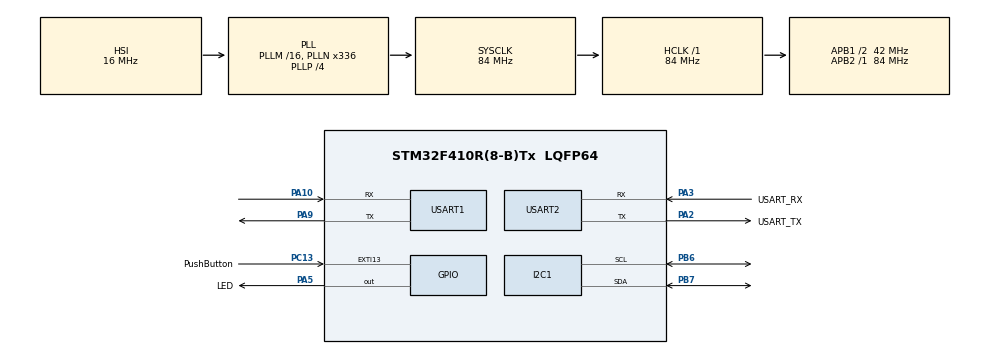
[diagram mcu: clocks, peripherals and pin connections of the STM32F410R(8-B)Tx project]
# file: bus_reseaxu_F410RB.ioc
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Dma.Request0=USART1_RX
Dma.USART1_RX.0.Direction=DMA_PERIPH_TO_MEMORY
Dma.USART1_RX.0.FIFOMode=DMA_FIFOMODE_DISABLE
Dma.USART1_RX.0.Instance=DMA2_Stream2
Dma.USART1_RX.0.MemDataAlignment=DMA_MDATAALIGN_BYTE
Dma.USART1_RX.0.MemInc=DMA_MINC_ENABLE
Dma.USART1_RX.0.Mode=DMA_NORMAL
Dma.USART1_RX.0.PeriphDataAlignment=DMA_PDATAALIGN_BYTE
Dma.USART1_RX.0.PeriphInc=DMA_PINC_DISABLE
Dma.USART1_RX.0.Priority=DMA_PRIORITY_HIGH
Mcu.Family=STM32F4
Mcu.Name=STM32F410R(8-B)Tx
Mcu.Package=LQFP64
NVIC.DMA2_Stream2_IRQn=true\:0\:0\:false\:false\:true\:false\:true\:true
NVIC.EXTI15_10_IRQn=true\:0\:0\:false\:false\:true\:true\:true\:true
NVIC.PriorityGroup=NVIC_PRIORITYGROUP_0
NVIC.USART1_IRQn=true\:0\:0\:false\:false\:true\:true\:true\:true
PA10.Mode=Asynchronous
PA10.Signal=USART1_RX
PA13.GPIO_Label=TMS
PA13.Mode=Serial_Wire
PA13.Signal=SYS_JTMS-SWDIO
PA14.GPIO_Label=TCK
PA14.Mode=Serial_Wire
PA14.Signal=SYS_JTCK-SWCLK
PA2.GPIO_Label=USART_TX
PA2.GPIO_Mode=GPIO_MODE_AF_PP
PA2.GPIO_PuPd=GPIO_NOPULL
PA2.GPIO_Speed=GPIO_SPEED_FREQ_VERY_HIGH
PA2.Mode=Asynchronous
PA2.Signal=USART2_TX
PA3.GPIO_Label=USART_RX
PA3.GPIO_Mode=GPIO_MODE_AF_PP
PA3.GPIO_PuPd=GPIO_NOPULL
PA3.GPIO_Speed=GPIO_SPEED_FREQ_VERY_HIGH
PA3.Mode=Asynchronous
PA3.Signal=USART2_RX
PA5.GPIO_Label=LED
PA5.GPIO_ModeDefaultOutputPP=GPIO_MODE_OUTPUT_PP
PA5.GPIO_PuPd=GPIO_NOPULL
PA5.GPIO_Speed=GPIO_SPEED_FREQ_LOW
PA5.Signal=GPIO_Output
PA9.Mode=Asynchronous
PA9.Signal=USART1_TX
PB6.Mode=I2C
PB6.Signal=I2C1_SCL
PB7.Mode=I2C
PB7.Signal=I2C1_SDA
PC13-ANTI_TAMP.GPIO_Label=PushButton
PC13-ANTI_TAMP.GPIO_ModeDefaultEXTI=GPIO_MODE_IT_RISING
PC13-ANTI_TAMP.GPIO_PuPd=GPIO_NOPULL
PC13-ANTI_TAMP.Signal=GPXTI13
PC14-OSC32_IN.Mode=LSE-External-Oscillator
PC14-OSC32_IN.Signal=RCC_OSC32_IN
PC15-OSC32_OUT.Mode=LSE-External-Oscillator
PC15-OSC32_OUT.Signal=RCC_OSC32_OUT
PH0\ -\ OSC_IN.Mode=HSE-External-Oscillator
PH0\ -\ OSC_IN.Signal=RCC_OSC_IN
PH1\ -\ OSC_OUT.Mode=HSE-External-Oscillator
PH1\ -\ OSC_OUT.Signal=RCC_OSC_OUT
ProjectManager.HeapSize=0x200
ProjectManager.StackSize=0x400
ProjectManager.TargetToolchain=STM32CubeIDE
RCC.48MHZClocksFreq_Value=84000000
RCC.AHBFreq_Value=84000000
RCC.APB1CLKDivider=RCC_HCLK_DIV2
RCC.APB1Freq_Value=42000000
RCC.APB1TimFreq_Value=84000000
RCC.APB2Freq_Value=84000000
RCC.APB2TimFreq_Value=84000000
RCC.CortexFreq_Value=84000000
RCC.FLatency-AdvancedSettings=FLASH_LATENCY_2
RCC.HCLKFreq_Value=84000000
RCC.HSE_VALUE=8000000
RCC.HSI_VALUE=16000000
RCC.PLLN=336
RCC.PLLP=RCC_PLLP_DIV4
RCC.SYSCLKFreq_VALUE=84000000
RCC.SYSCLKSource=RCC_SYSCLKSOURCE_PLLCLK
RCC.VCOOutputFreq_Value=336000000
USART1.VirtualMode=VM_ASYNC
USART2.VirtualMode=VM_ASYNC
VP_TIM1_VS_ClockSourceINT.Mode=Internal
board=NUCLEO-F410RB

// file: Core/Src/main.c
/* USER CODE BEGIN Header */
/**
 ******************************************************************************
 * @file           : main.c
 * @brief          : Main program body
 ******************************************************************************
 * @attention
 *
 * Copyright (c) 2022 STMicroelectronics.
 * All rights reserved.
 *
 * This software is licensed under terms that can be found in the LICENSE file
 * in the root directory of this software component.
 * If no LICENSE file comes with this software, it is provided AS-IS.
 *
 ******************************************************************************
 */
/* USER CODE END Header */
#include "main.h"

/* USER CODE BEGIN Includes */
#include "stdio.h"
#include "stdlib.h"
#include "string.h"
#include "stdio_ext.h"

#include "BMP280.h"	//Importe librarie pour contrôler le capteur
/* USER CODE END Includes */

/* USER CODE BEGIN PD */
#define SIZE_REQUETE 10
/* USER CODE END PD */

I2C_HandleTypeDef hi2c1;

TIM_HandleTypeDef htim1;

UART_HandleTypeDef huart1;
UART_HandleTypeDef huart2;
DMA_HandleTypeDef hdma_usart1_rx;

/* USER CODE BEGIN PV */
uint8_t data[6];
uint8_t REG_ID = 0xD0;

//Variables pour calibration
uint16_t dig_T1;
int16_t dig_T2;
int16_t dig_T3;
uint16_t dig_P1;
int16_t dig_P2;
int16_t dig_P3;
int16_t dig_P4;
int16_t dig_P5;
int16_t dig_P6;
int16_t dig_P7;
int16_t dig_P8;
int16_t dig_P9;

//variables reception raspberry
uint8_t Rx_rasp_to_nucleo = 1;
char requete[SIZE_REQUETE] = {'\0'};
int flag = 0;
//Variables reception Rx UART1
uint8_t Rx_byte;
char Rx_data[SIZE_REQUETE] = {'\0'};
uint8_t Rx_indx = 0;
/* USER CODE END PV */

void SystemClock_Config(void);
static void MX_GPIO_Init(void);
static void MX_DMA_Init(void);
static void MX_I2C1_Init(void);
static void MX_USART2_UART_Init(void);
static void MX_USART1_UART_Init(void);
static void MX_TIM1_Init(void);
/* USER CODE BEGIN PFP */
void configBMP280(void);
void id_BMP280();
void etalonnageBMP280();

void read_temp(void);
void read_press();
/* USER CODE END PFP */

/* USER CODE BEGIN 0 */
void configBMP280(void){
	uint8_t pData[2];
	pData[0] = 0xF4; // @ du ctrl_meas
	pData[1] = 0x57; //config mode normal, oversampling pressure x16 et temp x2
	HAL_I2C_Master_Transmit(&hi2c1, addr_BMP280, pData, 2, HAL_MAX_DELAY);
	HAL_I2C_Master_Receive(&hi2c1, addr_BMP280, &data[0], 6, HAL_MAX_DELAY);
	printf("la configuration est faite et la nouvelle valeur du registre est : %x\r\n", data[0]);

}

void id_BMP280(){
	HAL_I2C_Master_Transmit(&hi2c1, addr_BMP280, &REG_ID, 1, HAL_MAX_DELAY);
	HAL_I2C_Master_Receive(&hi2c1, addr_BMP280, &data[0], 6, HAL_MAX_DELAY);
	if(data[0]==0x58){
		printf("Le composant est le BMP280 et son id est : %x\r\n", data[0]);
	}
	else{
		printf("Le composant n'est pas reconnu");
	}
}

void etalonnageBMP280(){
	// Lecture des «trimming parameters»
	uint8_t calibration[26]; //tableau des variables
	uint8_t REG_trimming_parameter = 0x88; //premier address
	//int i = 0;  //variable d'itération
	//	for (i = 0; i < sizeof(REG_trimming_parameter); ++i) {
	//		REG_trimming_parameter[i] = 0x88 + i;
	//		printf("register: %x \r\n",REG_trimming_parameter[i]);
	//	}
	HAL_I2C_Master_Transmit(&hi2c1, addr_BMP280, &REG_trimming_parameter, 1, HAL_MAX_DELAY);
	HAL_I2C_Master_Receive(&hi2c1, addr_BMP280, calibration, 26, HAL_MAX_DELAY);

	//	for ( i = 0; i < 25; ++i) {
	//		printf("Valeur premiere addr: %x\r\n",calibration[i]);
	//	}
	dig_T1 = (uint16_t)calibration[1] << 8 | calibration[0];
	dig_T2 = (int16_t)calibration[3] << 8 | calibration[2];
	dig_T3 = (int16_t)calibration[5] << 8 | calibration[4];
	dig_P1 = (uint16_t)calibration[7] << 8 | calibration[6];
	dig_P2 = (int16_t)calibration[9] << 8 | calibration[8];
	dig_P3 = (int16_t)calibration[11] << 8 | calibration[10];
	dig_P4 = (int16_t)calibration[13] << 8 | calibration[12];
	dig_P5 = (int16_t)calibration[15] << 8 | calibration[14];
	dig_P6 = (int16_t)calibration[17] << 8 | calibration[16];
	dig_P7 = (int16_t)calibration[19] << 8 | calibration[18];
	dig_P8 = (int16_t)calibration[21] << 8 | calibration[20];
	dig_P9 = (int16_t)calibration[23] << 8 | calibration[22];
	//dig_T1 = (uint16_t)calibration[1] << 8 | calibration[0];
}

//==============Compensation formula in 32 bit fixed point
// Returns temperature in DegC, resolution is 0.01 DegC. Output value of “5123” equals 51.23 DegC.
// t_fine carries fine temperature as global value
BMP280_S32_t t_fine;
BMP280_S32_t bmp280_compensate_T_int32(BMP280_S32_t adc_T)
{
	BMP280_S32_t var1, var2, T;
	var1 = ((((adc_T>>3) - ((BMP280_S32_t)dig_T1<<1))) * ((BMP280_S32_t)dig_T2)) >> 11;
	var2 = (((((adc_T>>4) - ((BMP280_S32_t)dig_T1)) * ((adc_T>>4) - ((BMP280_S32_t)dig_T1))) >> 12) *
			((BMP280_S32_t)dig_T3)) >> 14;
	t_fine = var1 + var2;
	T = (t_fine * 5 + 128) >> 8;
	return T;
}

// Returns pressure in Pa as unsigned 32 bit integer. Output value of “96386” equals 96386 Pa = 963.86 hPa
BMP280_U32_t bmp280_compensate_P_int32(BMP280_S32_t adc_P)
{
	BMP280_S32_t var1, var2;
	BMP280_U32_t p;
	var1 = (((BMP280_S32_t)t_fine)>>1) - (BMP280_S32_t)64000;
	var2 = (((var1>>2) * (var1>>2)) >> 11 ) * ((BMP280_S32_t)dig_P6);
	var2 = var2 + ((var1*((BMP280_S32_t)dig_P5))<<1);
	var2 = (var2>>2)+(((BMP280_S32_t)dig_P4)<<16);
	var1 = (((dig_P3 * (((var1>>2) * (var1>>2)) >> 13 )) >> 3) + ((((BMP280_S32_t)dig_P2) * var1)>>1))>>18;
	var1 =((((32768+var1))*((BMP280_S32_t)dig_P1))>>15);
	if (var1 == 0)
	{
		return 0; // avoid exception caused by division by zero
	}
	p = (((BMP280_U32_t)(((BMP280_S32_t)1048576)-adc_P)-(var2>>12)))*3125;
	if (p < 0x80000000)
	{
		p = (p << 1) / ((BMP280_U32_t)var1);
	}
	else
	{
		p = (p / (BMP280_U32_t)var1) * 2;
	}
	var1 = (((BMP280_S32_t)dig_P9) * ((BMP280_S32_t)(((p>>3) * (p>>3))>>13)))>>12;
	var2 = (((BMP280_S32_t)(p>>2)) * ((BMP280_S32_t)dig_P8))>>13;
	p = (BMP280_U32_t)((BMP280_S32_t)p + ((var1 + var2 + dig_P7) >> 4));
	return p;
}

void read_temp(void)
{
	uint8_t addr_temp_press = 0xF7;
	//On uilise 6 posiion car des addres pour la press sont 0XF7, 0XF8, 0XF9 et pour la temp sont 0XFA, 0XFB, 0XFC
	//Donc on as besoin de 6 octects pour stocke les informations
	uint8_t data_temp_press[6];
	uint32_t temperature;
	uint32_t pressure;

	BMP280_S32_t temp_compensation;
	BMP280_U32_t press_compensation;

	HAL_I2C_Master_Transmit(&hi2c1, addr_BMP280, &addr_temp_press, 1, HAL_MAX_DELAY);
	HAL_I2C_Master_Receive(&hi2c1, addr_BMP280, data_temp_press, 6, HAL_MAX_DELAY);
	//	int i = 0;
	//	for (i = 0; i < 6; ++i) {
	//		printf("data = 0x%x \r\n", data_temp_press[i]);
	//	}

	//On stocke des valeur dans le registre «data_temp_press»
	//	pressure = (data_temp_press[0]<<12)|(data_temp_press[1]<<4)|(data_temp_press[2]>>4);
	temperature = (data_temp_press[3]<<12)|(data_temp_press[4]<<4)|(data_temp_press[5]>>4);

	//	printf("Valeur de la pression = 0x%lx, deci = %d \n\r",pressure, pressure);
	//	printf("Valeur de la temperature = 0x%lx, deci = %d \n\r",temperature, temperature);

	//	press_compensation=bmp280_compensate_P_int32(pressure);
	temp_compensation = bmp280_compensate_T_int32(temperature);
	printf("T=+%2d.%2d_C \r\n",(int)(temp_compensation/100),temp_compensation%100);
	return (int)(temp_compensation/100);
	//	printf("Pressure value compensated = %d.%d hPa\n\r",(int)(press_compensation/100),(press_compensation%100));
	//	printf("Temperature value compensated = %d.%d_C\n\r",(int)(temp_compensation/100),temp_compensation%100);;
}

void read_press()
{
	uint8_t addr_temp_press = 0xF7;
	//On uilise 6 posiion car des addres pour la press sont 0XF7, 0XF8, 0XF9 et pour la temp sont 0XFA, 0XFB, 0XFC
	//Donc on as besoin de 6 octects pour stocke les informations
	uint8_t data_temp_press[6];
	uint32_t pressure;
	BMP280_U32_t press_compensation;

	HAL_I2C_Master_Transmit(&hi2c1, addr_BMP280, &addr_temp_press, 1, HAL_MAX_DELAY);
	HAL_I2C_Master_Receive(&hi2c1, addr_BMP280, data_temp_press, 6, HAL_MAX_DELAY);
	//	int i = 0;
	//	for (i = 0; i < 6; ++i) {
	//		printf("data = 0x%x \r\n", data_temp_press[i]);
	//	}

	//On stocke des valeur dans le registre «data_temp_press»
	pressure = (data_temp_press[0]<<12)|(data_temp_press[1]<<4)|(data_temp_press[2]>>4);
	press_compensation=bmp280_compensate_P_int32(pressure);
	printf("P=%10dPa \r\n", (int)(press_compensation/100));
	//	HAL_UART_Transmit(&huart1, (uint8_t *)&ch, 1, 0xFFFF);
}

void HAL_UART_RxCpltCallback(UART_HandleTypeDef *huart)
{
	if (huart->Instance == USART1) { // Current UART
		Rx_data[Rx_indx++] = Rx_byte;    // Add data to Rx_Buffer
	}

	if (strcmp(Rx_data,"GET_T") == 0)
	{
		HAL_GPIO_TogglePin(LED_GPIO_Port, LED_Pin);
		HAL_UART_Transmit(&huart1, (uint8_t*)&Rx_data, strlen(Rx_data), HAL_MAX_DELAY);
		memset(Rx_data, 0, SIZE_REQUETE);
		Rx_indx = 0;
	}
	else if (strcmp(Rx_data,"GET_P") == 0)
	{
		HAL_GPIO_TogglePin(LED_GPIO_Port, LED_Pin);
		HAL_UART_Transmit(&huart1, (uint8_t*)&Rx_data, strlen(Rx_data), HAL_MAX_DELAY);
		memset(Rx_data, 0, SIZE_REQUETE);
		Rx_indx = 0;
	}
	else if (strcmp(Rx_data,"GET_K") == 0)
	{
		HAL_GPIO_TogglePin(LED_GPIO_Port, LED_Pin);
		HAL_UART_Transmit(&huart1, (uint8_t*)&Rx_data, strlen(Rx_data), HAL_MAX_DELAY);
		memset(Rx_data, 0, SIZE_REQUETE);
		Rx_indx = 0;
	}
	else if (strcmp(Rx_data,"GET_A") == 0)
	{
		HAL_GPIO_TogglePin(LED_GPIO_Port, LED_Pin);
		HAL_UART_Transmit(&huart1, (uint8_t*)&Rx_data, strlen(Rx_data), HAL_MAX_DELAY);
		memset(Rx_data, 0, SIZE_REQUETE);
		Rx_indx = 0;
	}
	else if (strcmp(Rx_data,"SET_K") == 0)
	{
		HAL_GPIO_TogglePin(LED_GPIO_Port, LED_Pin);
		HAL_UART_Transmit(&huart1, (uint8_t*)&Rx_data, strlen(Rx_data), HAL_MAX_DELAY);
		memset(Rx_data, 0, SIZE_REQUETE);
		Rx_indx = 0;
	}
	HAL_UART_Receive_DMA(&huart1, &Rx_byte, 1);
}

void HAL_GPIO_EXTI_Callback(uint16_t GPIO_Pin)
{
	//	char message[] = "hello world\r\n";
	if (GPIO_Pin == PushButton_Pin)
	{
		HAL_GPIO_TogglePin(LED_GPIO_Port, LED_Pin);
		HAL_UART_Transmit(&huart1, (uint8_t*)Rx_data, strlen(Rx_data), HAL_MAX_DELAY);
		memset(Rx_data, 0, SIZE_REQUETE);
		Rx_indx = 0;
	}
}
/* USER CODE END 0 */

int main(void)
{

	/* MCU Configuration--------------------------------------------------------*/

	/* Reset of all peripherals, Initializes the Flash interface and the Systick. */
	HAL_Init();

	/* Configure the system clock */
	SystemClock_Config();

	/* Initialize all configured peripherals */
	MX_GPIO_Init();
	MX_DMA_Init();
	MX_I2C1_Init();
	MX_USART2_UART_Init();
	MX_USART1_UART_Init();
	MX_TIM1_Init();
	/* USER CODE BEGIN 2 */

	// On active UART avec le DMA, on va recevoir un seul byte
	HAL_UART_Receive_DMA(&huart1, &Rx_byte, 1); //On

	configBMP280();

	//Calibration || etalonnage
	printf("Etalonnage\r\n");
	etalonnageBMP280();

	//	read_temp();
	/* USER CODE END 2 */

	/* Infinite loop */
	/* USER CODE BEGIN WHILE */
	while (1)
	{
		//		HAL_GPIO_TogglePin(LED_GPIO_Port, LED_Pin);
		//		HAL_Delay(500);
		/* USER CODE END WHILE */

		/* USER CODE BEGIN 3 */
		//		if (HAL_UART_Receive(&huart1, &Rx_rasp_to_nucleo, 1, 1000)==HAL_OK) {
		//
		//			if (Rx_rasp_to_nucleo==0x0D) {
		//				//				printf("Data = %s \r\n", requete);
		//				flag=0;
		//				if (strcmp(&requete,"GET_T")==0) {
		//					//					printf("ok = GET_T \r\n");
		//					read_temp();
		//					memset(requete, 0, SIZE_REQUETE);
		//				}else if (strcmp(&requete,"GET_P")==0) {
		//					//					printf("ok = GET_P \r\n");
		//					read_press();
		//					memset(requete, 0, SIZE_REQUETE);
		//				}
		//				else if (strcmp(&requete,"GET_K")==0) {
		//					//					printf("ok = GET_K \r\n");
		//					memset(requete, 0, SIZE_REQUETE);
		//				}
		//				else if (strcmp(&requete,"GET_A")==0){
		//					//					printf("ok = GET_A \r\n");
		//					memset(requete, 0, SIZE_REQUETE);
		//				}
		//				else if (strcmp(&requete,"GET_K=1234")==0){
		//					//					printf("ok = GET_K=1234 \r\n");
		//					memset(requete, 0, SIZE_REQUETE);
		//				}
		//				else{
		//					//					printf("Requête non reconnue \r\n");
		//					memset(requete, 0, SIZE_REQUETE);
		//				}
		//			}else {
		//				if (flag > sizeof(requete)-1) {
		//					flag=0;
		//					memset(requete, 0, SIZE_REQUETE);
		//				}
		//				requete[flag]=Rx_rasp_to_nucleo;
		//				flag++;
		//				//				if (flag >= 5) {
		//				//					flag=0;
		//				//					printf("Requete trop longue \r\n");
		//				//				}
		//				//				requete[flag]=Rx_rasp_to_nucleo;
		//				//				flag++;
		//			}
		//			//printf("ok");
		//			//			HAL_GPIO_TogglePin(LD2_GPIO_Port, LD2_Pin);
		//			//			HAL_Delay(500);
		//
		//		}
	}
	/* USER CODE END 3 */
}

void SystemClock_Config(void)
{
	RCC_OscInitTypeDef RCC_OscInitStruct = {0};
	RCC_ClkInitTypeDef RCC_ClkInitStruct = {0};

	/** Configure the main internal regulator output voltage
	 */
	__HAL_RCC_PWR_CLK_ENABLE();
	__HAL_PWR_VOLTAGESCALING_CONFIG(PWR_REGULATOR_VOLTAGE_SCALE1);

	/** Initializes the RCC Oscillators according to the specified parameters
	 * in the RCC_OscInitTypeDef structure.
	 */
	RCC_OscInitStruct.OscillatorType = RCC_OSCILLATORTYPE_HSI;
	RCC_OscInitStruct.HSIState = RCC_HSI_ON;
	RCC_OscInitStruct.HSICalibrationValue = RCC_HSICALIBRATION_DEFAULT;
	RCC_OscInitStruct.PLL.PLLState = RCC_PLL_ON;
	RCC_OscInitStruct.PLL.PLLSource = RCC_PLLSOURCE_HSI;
	RCC_OscInitStruct.PLL.PLLM = 16;
	RCC_OscInitStruct.PLL.PLLN = 336;
	RCC_OscInitStruct.PLL.PLLP = RCC_PLLP_DIV4;
	RCC_OscInitStruct.PLL.PLLQ = 4;
	RCC_OscInitStruct.PLL.PLLR = 2;
	if (HAL_RCC_OscConfig(&RCC_OscInitStruct) != HAL_OK)
	{
		Error_Handler();
	}

	/** Initializes the CPU, AHB and APB buses clocks
	 */
	RCC_ClkInitStruct.ClockType = RCC_CLOCKTYPE_HCLK|RCC_CLOCKTYPE_SYSCLK
			|RCC_CLOCKTYPE_PCLK1|RCC_CLOCKTYPE_PCLK2;
	RCC_ClkInitStruct.SYSCLKSource = RCC_SYSCLKSOURCE_PLLCLK;
	RCC_ClkInitStruct.AHBCLKDivider = RCC_SYSCLK_DIV1;
	RCC_ClkInitStruct.APB1CLKDivider = RCC_HCLK_DIV2;
	RCC_ClkInitStruct.APB2CLKDivider = RCC_HCLK_DIV1;

	if (HAL_RCC_ClockConfig(&RCC_ClkInitStruct, FLASH_LATENCY_2) != HAL_OK)
	{
		Error_Handler();
	}
}

static void MX_I2C1_Init(void)
{

	hi2c1.Instance = I2C1;
	hi2c1.Init.ClockSpeed = 100000;
	hi2c1.Init.DutyCycle = I2C_DUTYCYCLE_2;
	hi2c1.Init.OwnAddress1 = 0;
	hi2c1.Init.AddressingMode = I2C_ADDRESSINGMODE_7BIT;
	hi2c1.Init.DualAddressMode = I2C_DUALADDRESS_DISABLE;
	hi2c1.Init.OwnAddress2 = 0;
	hi2c1.Init.GeneralCallMode = I2C_GENERALCALL_DISABLE;
	hi2c1.Init.NoStretchMode = I2C_NOSTRETCH_DISABLE;
	if (HAL_I2C_Init(&hi2c1) != HAL_OK)
	{
		Error_Handler();
	}

}

static void MX_TIM1_Init(void)
{

	TIM_ClockConfigTypeDef sClockSourceConfig = {0};
	TIM_MasterConfigTypeDef sMasterConfig = {0};

	htim1.Instance = TIM1;
	htim1.Init.Prescaler = 0;
	htim1.Init.CounterMode = TIM_COUNTERMODE_UP;
	htim1.Init.Period = 65535;
	htim1.Init.ClockDivision = TIM_CLOCKDIVISION_DIV1;
	htim1.Init.RepetitionCounter = 0;
	htim1.Init.AutoReloadPreload = TIM_AUTORELOAD_PRELOAD_DISABLE;
	if (HAL_TIM_Base_Init(&htim1) != HAL_OK)
	{
		Error_Handler();
	}
	sClockSourceConfig.ClockSource = TIM_CLOCKSOURCE_INTERNAL;
	if (HAL_TIM_ConfigClockSource(&htim1, &sClockSourceConfig) != HAL_OK)
	{
		Error_Handler();
	}
	sMasterConfig.MasterOutputTrigger = TIM_TRGO_RESET;
	sMasterConfig.MasterSlaveMode = TIM_MASTERSLAVEMODE_DISABLE;
	if (HAL_TIMEx_MasterConfigSynchronization(&htim1, &sMasterConfig) != HAL_OK)
	{
		Error_Handler();
	}

}

static void MX_USART1_UART_Init(void)
{

	huart1.Instance = USART1;
	huart1.Init.BaudRate = 115200;
	huart1.Init.WordLength = UART_WORDLENGTH_8B;
	huart1.Init.StopBits = UART_STOPBITS_1;
	huart1.Init.Parity = UART_PARITY_NONE;
	huart1.Init.Mode = UART_MODE_TX_RX;
	huart1.Init.HwFlowCtl = UART_HWCONTROL_NONE;
	huart1.Init.OverSampling = UART_OVERSAMPLING_16;
	if (HAL_UART_Init(&huart1) != HAL_OK)
	{
		Error_Handler();
	}

}

static void MX_USART2_UART_Init(void)
{

	huart2.Instance = USART2;
	huart2.Init.BaudRate = 115200;
	huart2.Init.WordLength = UART_WORDLENGTH_8B;
	huart2.Init.StopBits = UART_STOPBITS_1;
	huart2.Init.Parity = UART_PARITY_NONE;
	huart2.Init.Mode = UART_MODE_TX_RX;
	huart2.Init.HwFlowCtl = UART_HWCONTROL_NONE;
	huart2.Init.OverSampling = UART_OVERSAMPLING_16;
	if (HAL_UART_Init(&huart2) != HAL_OK)
	{
		Error_Handler();
	}

}

static void MX_DMA_Init(void)
{

	/* DMA controller clock enable */
	__HAL_RCC_DMA2_CLK_ENABLE();

	/* DMA interrupt init */
	/* DMA2_Stream2_IRQn interrupt configuration */
	HAL_NVIC_SetPriority(DMA2_Stream2_IRQn, 0, 0);
	HAL_NVIC_EnableIRQ(DMA2_Stream2_IRQn);

}

static void MX_GPIO_Init(void)
{
	GPIO_InitTypeDef GPIO_InitStruct = {0};

	/* GPIO Ports Clock Enable */
	__HAL_RCC_GPIOC_CLK_ENABLE();
	__HAL_RCC_GPIOH_CLK_ENABLE();
	__HAL_RCC_GPIOA_CLK_ENABLE();
	__HAL_RCC_GPIOB_CLK_ENABLE();

	/*Configure GPIO pin Output Level */
	HAL_GPIO_WritePin(LED_GPIO_Port, LED_Pin, GPIO_PIN_RESET);

	/*Configure GPIO pin : PushButton_Pin */
	GPIO_InitStruct.Pin = PushButton_Pin;
	GPIO_InitStruct.Mode = GPIO_MODE_IT_RISING;
	GPIO_InitStruct.Pull = GPIO_NOPULL;
	HAL_GPIO_Init(PushButton_GPIO_Port, &GPIO_InitStruct);

	/*Configure GPIO pin : LED_Pin */
	GPIO_InitStruct.Pin = LED_Pin;
	GPIO_InitStruct.Mode = GPIO_MODE_OUTPUT_PP;
	GPIO_InitStruct.Pull = GPIO_NOPULL;
	GPIO_InitStruct.Speed = GPIO_SPEED_FREQ_LOW;
	HAL_GPIO_Init(LED_GPIO_Port, &GPIO_InitStruct);

	/* EXTI interrupt init*/
	HAL_NVIC_SetPriority(EXTI15_10_IRQn, 0, 0);
	HAL_NVIC_EnableIRQ(EXTI15_10_IRQn);

}

void Error_Handler(void)
{
	__disable_irq();
	while (1)
	{
	}
}
